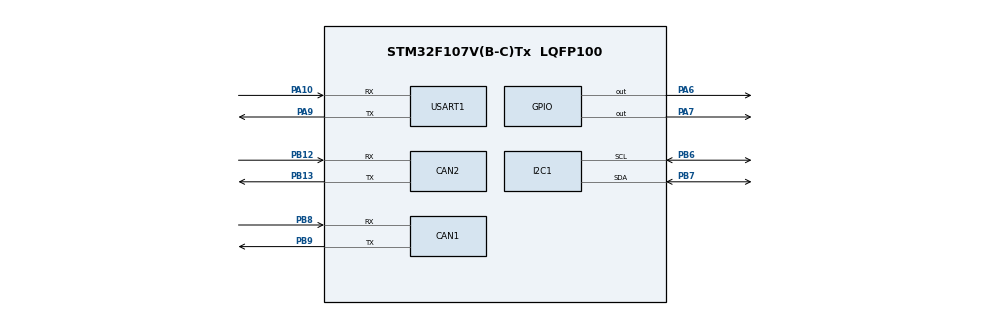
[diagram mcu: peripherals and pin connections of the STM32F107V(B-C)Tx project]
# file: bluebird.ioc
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CAN1.CalculateTimeBit=6000
CAN1.CalculateTimeQuantum=2000.0
CAN2.CalculateTimeBit=6000
CAN2.CalculateTimeQuantum=2000.0
FREERTOS.Tasks01=defaultTask,0,128,StartDefaultTask,Default,NULL
Mcu.Family=STM32F1
Mcu.Name=STM32F107V(B-C)Tx
Mcu.Package=LQFP100
NVIC.PriorityGroup=NVIC_PRIORITYGROUP_4
NVIC.TIM1_UP_IRQn=true\:5\:0\:false\:false\:true\:true
NVIC.TimeBase=TIM1_UP_IRQn
NVIC.TimeBaseIP=TIM1
OSC_IN.Mode=HSE-External-Oscillator
OSC_IN.Signal=RCC_OSC_IN
OSC_OUT.Mode=HSE-External-Oscillator
OSC_OUT.Signal=RCC_OSC_OUT
PA10.Mode=Asynchronous
PA10.Signal=USART1_RX
PA13.Mode=JTAG_5_pins
PA13.Signal=SYS_JTMS-SWDIO
PA14.Mode=JTAG_5_pins
PA14.Signal=SYS_JTCK-SWCLK
PA15.Mode=JTAG_5_pins
PA15.Signal=SYS_JTDI
PA6.Signal=GPIO_Output
PA7.Signal=GPIO_Output
PA9.Mode=Asynchronous
PA9.Signal=USART1_TX
PB12.Mode=Slave
PB12.Signal=CAN2_RX
PB13.Mode=Slave
PB13.Signal=CAN2_TX
PB3.Mode=JTAG_5_pins
PB3.Signal=SYS_JTDO
PB4.Mode=JTAG_5_pins
PB4.Signal=SYS_NJTRST
PB6.Mode=I2C
PB6.Signal=I2C1_SCL
PB7.Mode=I2C
PB7.Signal=I2C1_SDA
PB8.Mode=Master
PB8.Signal=CAN1_RX
PB9.Mode=Master
PB9.Signal=CAN1_TX
PC14-OSC32_IN.Mode=LSE-External-Oscillator
PC14-OSC32_IN.Signal=RCC_OSC32_IN
PC15-OSC32_OUT.Mode=LSE-External-Oscillator
PC15-OSC32_OUT.Signal=RCC_OSC32_OUT
ProjectManager.HeapSize=0x200
ProjectManager.StackSize=0x400
ProjectManager.TargetToolchain=SW4STM32
RCC.HSE_VALUE=25000000
RCC.USBFreq_Value=10666666.666666666
VP_FREERTOS_VS_ENABLE.Mode=Enabled
VP_SYS_VS_tim1.Mode=TIM1
VP_TIM3_VS_ClockSourceINT.Mode=Internal
VP_TIM6_VS_ClockSourceINT.Mode=Enable_Timer
VP_TIM7_VS_ClockSourceINT.Mode=Enable_Timer
board=bluebird

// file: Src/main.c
/**
  ******************************************************************************
  * File Name          : main.c
  * Description        : Main program body
  ******************************************************************************
  *
  * Copyright (c) 2017 STMicroelectronics International N.V.
  * All rights reserved.
  *
  * Redistribution and use in source and binary forms, with or without
  * modification, are permitted, provided that the following conditions are met:
  *
  * 1. Redistribution of source code must retain the above copyright notice,
  *    this list of conditions and the following disclaimer.
  * 2. Redistributions in binary form must reproduce the above copyright notice,
  *    this list of conditions and the following disclaimer in the documentation
  *    and/or other materials provided with the distribution.
  * 3. Neither the name of STMicroelectronics nor the names of other
  *    contributors to this software may be used to endorse or promote products
  *    derived from this software without specific written permission.
  * 4. This software, including modifications and/or derivative works of this
  *    software, must execute solely and exclusively on microcontroller or
  *    microprocessor devices manufactured by or for STMicroelectronics.
  * 5. Redistribution and use of this software other than as permitted under
  *    this license is void and will automatically terminate your rights under
  *    this license.
  *
  * THIS SOFTWARE IS PROVIDED BY STMICROELECTRONICS AND CONTRIBUTORS "AS IS"
  * AND ANY EXPRESS, IMPLIED OR STATUTORY WARRANTIES, INCLUDING, BUT NOT
  * LIMITED TO, THE IMPLIED WARRANTIES OF MERCHANTABILITY, FITNESS FOR A
  * PARTICULAR PURPOSE AND NON-INFRINGEMENT OF THIRD PARTY INTELLECTUAL PROPERTY
  * RIGHTS ARE DISCLAIMED TO THE FULLEST EXTENT PERMITTED BY LAW. IN NO EVENT
  * SHALL STMICROELECTRONICS OR CONTRIBUTORS BE LIABLE FOR ANY DIRECT, INDIRECT,
  * INCIDENTAL, SPECIAL, EXEMPLARY, OR CONSEQUENTIAL DAMAGES (INCLUDING, BUT NOT
  * LIMITED TO, PROCUREMENT OF SUBSTITUTE GOODS OR SERVICES; LOSS OF USE, DATA,
  * OR PROFITS; OR BUSINESS INTERRUPTION) HOWEVER CAUSED AND ON ANY THEORY OF
  * LIABILITY, WHETHER IN CONTRACT, STRICT LIABILITY, OR TORT (INCLUDING
  * NEGLIGENCE OR OTHERWISE) ARISING IN ANY WAY OUT OF THE USE OF THIS SOFTWARE,
  * EVEN IF ADVISED OF THE POSSIBILITY OF SUCH DAMAGE.
  *
  ******************************************************************************
  */
#include "main.h"
#include "stm32f1xx_hal.h"
#include "cmsis_os.h"
#include "can.h"
#include "i2c.h"
#include "tim.h"
#include "usart.h"
#include "gpio.h"

/* USER CODE BEGIN Includes */

#include "stm32f107_viewtool.h"

/* USER CODE END Includes */

/* USER CODE BEGIN PV */
/* Private variables ---------------------------------------------------------*/

/* USER CODE END PV */

void SystemClock_Config(void);
void Error_Handler(void);
void MX_FREERTOS_Init(void);

/* USER CODE BEGIN PFP */
/* Private function prototypes -----------------------------------------------*/

/* USER CODE END PFP */

/* USER CODE BEGIN 0 */

void vApplicationIdleHook( void )
{
    BSP_LED_Toggle(LED1);
    HAL_Delay(500);//ms
}

/* USER CODE END 0 */

int main(void)
{

  /* MCU Configuration----------------------------------------------------------*/

  /* Reset of all peripherals, Initializes the Flash interface and the Systick. */
  HAL_Init();

  /* Configure the system clock */
  SystemClock_Config();

  /* Initialize all configured peripherals */
  MX_GPIO_Init();
  MX_CAN1_Init();
  MX_CAN2_Init();
  MX_I2C1_Init();
  MX_TIM3_Init();
  MX_USART1_UART_Init();
  MX_TIM6_Init();
  MX_TIM7_Init();

  /* USER CODE BEGIN 2 */

  GPIO_Config_LEDs();

  /* USER CODE END 2 */

  /* Call init function for freertos objects (in freertos.c) */
  MX_FREERTOS_Init();

  /* Start scheduler */
  osKernelStart();

  /* We should never get here as control is now taken by the scheduler */

  /* Infinite loop */
  while (1)
  {

  }

}

/** System Clock Configuration
*/
void SystemClock_Config(void)
{

  RCC_OscInitTypeDef RCC_OscInitStruct;
  RCC_ClkInitTypeDef RCC_ClkInitStruct;

    /**Initializes the CPU, AHB and APB busses clocks
    */
  RCC_OscInitStruct.OscillatorType = RCC_OSCILLATORTYPE_HSI;
  RCC_OscInitStruct.HSIState = RCC_HSI_ON;
  RCC_OscInitStruct.HSICalibrationValue = 16;
  RCC_OscInitStruct.PLL.PLLState = RCC_PLL_NONE;
  RCC_OscInitStruct.PLL2.PLL2State = RCC_PLL_NONE;
  if (HAL_RCC_OscConfig(&RCC_OscInitStruct) != HAL_OK)
  {
    Error_Handler();
  }

    /**Initializes the CPU, AHB and APB busses clocks
    */
  RCC_ClkInitStruct.ClockType = RCC_CLOCKTYPE_HCLK|RCC_CLOCKTYPE_SYSCLK
                              |RCC_CLOCKTYPE_PCLK1|RCC_CLOCKTYPE_PCLK2;
  RCC_ClkInitStruct.SYSCLKSource = RCC_SYSCLKSOURCE_HSI;
  RCC_ClkInitStruct.AHBCLKDivider = RCC_SYSCLK_DIV1;
  RCC_ClkInitStruct.APB1CLKDivider = RCC_HCLK_DIV1;
  RCC_ClkInitStruct.APB2CLKDivider = RCC_HCLK_DIV1;

  if (HAL_RCC_ClockConfig(&RCC_ClkInitStruct, FLASH_LATENCY_0) != HAL_OK)
  {
    Error_Handler();
  }

    /**Configure the Systick interrupt time
    */
  HAL_SYSTICK_Config(HAL_RCC_GetHCLKFreq()/1000);

    /**Configure the Systick
    */
  HAL_SYSTICK_CLKSourceConfig(SYSTICK_CLKSOURCE_HCLK);

    /**Configure the Systick interrupt time
    */
  __HAL_RCC_PLLI2S_ENABLE();

  /* SysTick_IRQn interrupt configuration */
  HAL_NVIC_SetPriority(SysTick_IRQn, 15, 0);
}

void HAL_TIM_PeriodElapsedCallback(TIM_HandleTypeDef *htim)
{
  if (htim->Instance == TIM1) {
    HAL_IncTick();
  }
}

void Error_Handler(void)
{
  /* USER CODE BEGIN Error_Handler */

  BSP_LED_On(LED2);
  while(1)
  {
  }
  /* USER CODE END Error_Handler */
}

/************************ (C) COPYRIGHT STMicroelectronics *****END OF FILE****/

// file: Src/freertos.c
/**
  ******************************************************************************
  * File Name          : freertos.c
  * Description        : Code for freertos applications
  ******************************************************************************
  *
  * Copyright (c) 2017 STMicroelectronics International N.V.
  * All rights reserved.
  *
  * Redistribution and use in source and binary forms, with or without
  * modification, are permitted, provided that the following conditions are met:
  *
  * 1. Redistribution of source code must retain the above copyright notice,
  *    this list of conditions and the following disclaimer.
  * 2. Redistributions in binary form must reproduce the above copyright notice,
  *    this list of conditions and the following disclaimer in the documentation
  *    and/or other materials provided with the distribution.
  * 3. Neither the name of STMicroelectronics nor the names of other
  *    contributors to this software may be used to endorse or promote products
  *    derived from this software without specific written permission.
  * 4. This software, including modifications and/or derivative works of this
  *    software, must execute solely and exclusively on microcontroller or
  *    microprocessor devices manufactured by or for STMicroelectronics.
  * 5. Redistribution and use of this software other than as permitted under
  *    this license is void and will automatically terminate your rights under
  *    this license.
  *
  * THIS SOFTWARE IS PROVIDED BY STMICROELECTRONICS AND CONTRIBUTORS "AS IS"
  * AND ANY EXPRESS, IMPLIED OR STATUTORY WARRANTIES, INCLUDING, BUT NOT
  * LIMITED TO, THE IMPLIED WARRANTIES OF MERCHANTABILITY, FITNESS FOR A
  * PARTICULAR PURPOSE AND NON-INFRINGEMENT OF THIRD PARTY INTELLECTUAL PROPERTY
  * RIGHTS ARE DISCLAIMED TO THE FULLEST EXTENT PERMITTED BY LAW. IN NO EVENT
  * SHALL STMICROELECTRONICS OR CONTRIBUTORS BE LIABLE FOR ANY DIRECT, INDIRECT,
  * INCIDENTAL, SPECIAL, EXEMPLARY, OR CONSEQUENTIAL DAMAGES (INCLUDING, BUT NOT
  * LIMITED TO, PROCUREMENT OF SUBSTITUTE GOODS OR SERVICES; LOSS OF USE, DATA,
  * OR PROFITS; OR BUSINESS INTERRUPTION) HOWEVER CAUSED AND ON ANY THEORY OF
  * LIABILITY, WHETHER IN CONTRACT, STRICT LIABILITY, OR TORT (INCLUDING
  * NEGLIGENCE OR OTHERWISE) ARISING IN ANY WAY OUT OF THE USE OF THIS SOFTWARE,
  * EVEN IF ADVISED OF THE POSSIBILITY OF SUCH DAMAGE.
  *
  ******************************************************************************
  */

#include "FreeRTOS.h"
#include "task.h"
#include "cmsis_os.h"

/* USER CODE BEGIN Includes */

#include <stm32f107xc.h>
#include "can_reader_task.h"

/* USER CODE END Includes */

osThreadId defaultTaskHandle;

/* USER CODE BEGIN Variables */

osThreadId _can1ReaderTaskH;

/* USER CODE END Variables */

static void StartDefaultTask(void const * arg);

void MX_FREERTOS_Init(void); /* (MISRA C 2004 rule 8.1) */

/* USER CODE BEGIN FunctionPrototypes */

static void StartCan1ReaderTask(void const * arg);

/* USER CODE END FunctionPrototypes */

/* Hook prototypes */

/* Init FreeRTOS */

void MX_FREERTOS_Init(void) {

  /* Create the thread(s) */
  /* definition and creation of defaultTask */
  osThreadDef(defaultTask, StartDefaultTask, osPriorityNormal, 0, 128);
  defaultTaskHandle = osThreadCreate(osThread(defaultTask), NULL);

  /* USER CODE BEGIN RTOS_THREADS */
  /* add threads, ... */

  osThreadDef(can1ReaderTask, StartCan1ReaderTask, osPriorityNormal, 0, 128);
  _can1ReaderTaskH = osThreadCreate(osThread(can1ReaderTask), NULL);

  /* USER CODE END RTOS_THREADS */

}

/* StartDefaultTask function */
static void StartDefaultTask(void const * arg)
{

  for(;;)
  {
    osDelay(1);
  }
}

/* USER CODE BEGIN Application */

void StartCan1ReaderTask(void const * argument)
{
  can_reader_task_main(&hcan1);
}

/* configSUPPORT_STATIC_ALLOCATION is set to 1, so the application must provide an
implementation of vApplicationGetIdleTaskMemory() to provide the memory that is
used by the Idle task. */
void vApplicationGetIdleTaskMemory( StaticTask_t **ppxIdleTaskTCBBuffer,
                                    StackType_t **ppxIdleTaskStackBuffer,
                                    uint32_t *pulIdleTaskStackSize )
{
/* If the buffers to be provided to the Idle task are declared inside this
function then they must be declared static - otherwise they will be allocated on
the stack and so not exists after this function exits. */
    static StaticTask_t xIdleTaskTCB;
    static StackType_t uxIdleTaskStack[ configMINIMAL_STACK_SIZE ];

    /* Pass out a pointer to the StaticTask_t structure in which the Idle task's
    state will be stored. */
    *ppxIdleTaskTCBBuffer = &xIdleTaskTCB;

    /* Pass out the array that will be used as the Idle task's stack. */
    *ppxIdleTaskStackBuffer = uxIdleTaskStack;

    /* Pass out the size of the array pointed to by *ppxIdleTaskStackBuffer.
    Note that, as the array is necessarily of type StackType_t,
    configMINIMAL_STACK_SIZE is specified in words, not bytes. */
    *pulIdleTaskStackSize = configMINIMAL_STACK_SIZE;
}
/*-----------------------------------------------------------*/

/* configSUPPORT_STATIC_ALLOCATION and configUSE_TIMERS are both set to 1, so the
application must provide an implementation of vApplicationGetTimerTaskMemory()
to provide the memory that is used by the Timer service task. */
void vApplicationGetTimerTaskMemory( StaticTask_t **ppxTimerTaskTCBBuffer,
                                     StackType_t **ppxTimerTaskStackBuffer,
                                     uint32_t *pulTimerTaskStackSize )
{
/* If the buffers to be provided to the Timer task are declared inside this
function then they must be declared static - otherwise they will be allocated on
the stack and so not exists after this function exits. */
    static StaticTask_t xTimerTaskTCB;
    static StackType_t uxTimerTaskStack[ configTIMER_TASK_STACK_DEPTH ];

    /* Pass out a pointer to the StaticTask_t structure in which the Timer
    task's state will be stored. */
    *ppxTimerTaskTCBBuffer = &xTimerTaskTCB;

    /* Pass out the array that will be used as the Timer task's stack. */
    *ppxTimerTaskStackBuffer = uxTimerTaskStack;

    /* Pass out the size of the array pointed to by *ppxTimerTaskStackBuffer.
    Note that, as the array is necessarily of type StackType_t,
    configTIMER_TASK_STACK_DEPTH is specified in words, not bytes. */
    *pulTimerTaskStackSize = configTIMER_TASK_STACK_DEPTH;
}

void vApplicationStackOverflowHook( TaskHandle_t xTask,
                                    signed char *pcTaskName )
{
    //hook for handling overflow check
//    printf("overflow in %s",pcTaskName);
}

/* USER CODE END Application */

/************************ (C) COPYRIGHT STMicroelectronics *****END OF FILE****/
